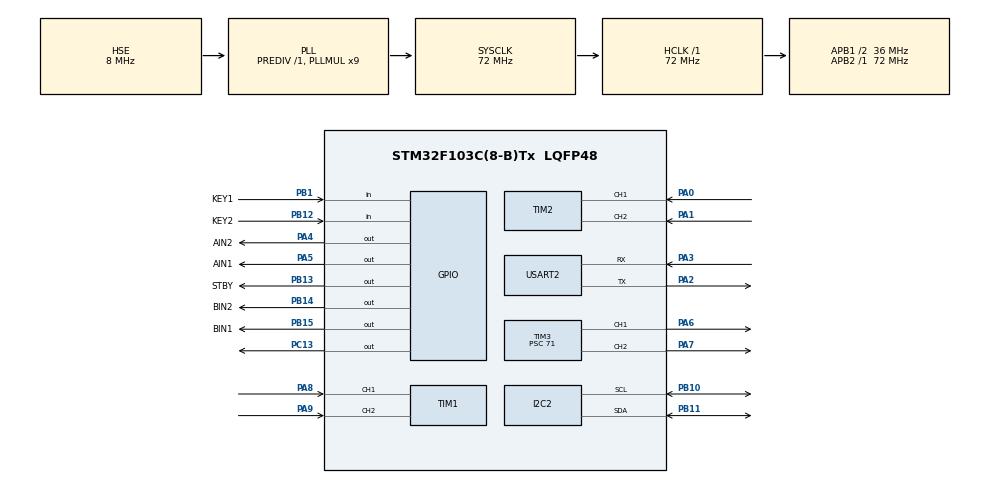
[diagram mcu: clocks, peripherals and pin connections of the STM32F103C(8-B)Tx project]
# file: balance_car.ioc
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I2C2.I2C_Mode=I2C_Fast
Mcu.Family=STM32F1
Mcu.Name=STM32F103C(8-B)Tx
Mcu.Package=LQFP48
NVIC.PriorityGroup=NVIC_PRIORITYGROUP_4
NVIC.TIM4_IRQn=true\:0\:0\:false\:false\:true\:true\:true\:true
PA0-WKUP.GPIO_PuPd=GPIO_PULLUP
PA0-WKUP.Signal=S_TIM2_CH1_ETR
PA1.GPIO_PuPd=GPIO_PULLUP
PA1.Signal=S_TIM2_CH2
PA13.Mode=Serial_Wire
PA13.Signal=SYS_JTMS-SWDIO
PA14.Mode=Serial_Wire
PA14.Signal=SYS_JTCK-SWCLK
PA2.Mode=Asynchronous
PA2.Signal=USART2_TX
PA3.Mode=Asynchronous
PA3.Signal=USART2_RX
PA4.GPIO_Label=AIN2
PA4.Signal=GPIO_Output
PA5.GPIO_Label=AIN1
PA5.Signal=GPIO_Output
PA6.Signal=S_TIM3_CH1
PA7.Signal=S_TIM3_CH2
PA8.GPIO_PuPd=GPIO_PULLUP
PA8.Signal=S_TIM1_CH1
PA9.GPIO_PuPd=GPIO_PULLUP
PA9.Signal=S_TIM1_CH2
PB1.GPIO_Label=KEY1
PB1.GPIO_PuPd=GPIO_PULLUP
PB1.Signal=GPIO_Input
PB10.Mode=I2C
PB10.Signal=I2C2_SCL
PB11.Mode=I2C
PB11.Signal=I2C2_SDA
PB12.GPIO_Label=KEY2
PB12.GPIO_PuPd=GPIO_PULLUP
PB12.Signal=GPIO_Input
PB13.GPIO_Label=STBY
PB13.PinState=GPIO_PIN_SET
PB13.Signal=GPIO_Output
PB14.GPIO_Label=BIN2
PB14.Signal=GPIO_Output
PB15.GPIO_Label=BIN1
PB15.Signal=GPIO_Output
PC13-TAMPER-RTC.GPIO_ModeDefaultOutputPP=GPIO_MODE_OUTPUT_OD
PC13-TAMPER-RTC.GPIO_PuPd=GPIO_NOPULL
PC13-TAMPER-RTC.PinState=GPIO_PIN_SET
PC13-TAMPER-RTC.Signal=GPIO_Output
PD0-OSC_IN.Mode=HSE-External-Oscillator
PD0-OSC_IN.Signal=RCC_OSC_IN
PD1-OSC_OUT.Mode=HSE-External-Oscillator
PD1-OSC_OUT.Signal=RCC_OSC_OUT
ProjectManager.HeapSize=0x200
ProjectManager.StackSize=0x400
ProjectManager.TargetToolchain=MDK-ARM V5.32
RCC.AHBFreq_Value=72000000
RCC.APB1CLKDivider=RCC_HCLK_DIV2
RCC.APB1Freq_Value=36000000
RCC.APB1TimFreq_Value=72000000
RCC.APB2Freq_Value=72000000
RCC.APB2TimFreq_Value=72000000
RCC.HCLKFreq_Value=72000000
RCC.PLLMUL=RCC_PLL_MUL9
RCC.PLLSourceVirtual=RCC_PLLSOURCE_HSE
RCC.SYSCLKFreq_VALUE=72000000
RCC.SYSCLKSource=RCC_SYSCLKSOURCE_PLLCLK
RCC.USBFreq_Value=72000000
SH.S_TIM1_CH1.0=TIM1_CH1,Encoder_Interface
SH.S_TIM1_CH2.0=TIM1_CH2,Encoder_Interface
SH.S_TIM2_CH1_ETR.0=TIM2_CH1,Encoder_Interface
SH.S_TIM2_CH2.0=TIM2_CH2,Encoder_Interface
SH.S_TIM3_CH1.0=TIM3_CH1,PWM Generation1 CH1
SH.S_TIM3_CH2.0=TIM3_CH2,PWM Generation2 CH2
TIM1.EncoderMode=TIM_ENCODERMODE_TI12
TIM2.EncoderMode=TIM_ENCODERMODE_TI12
TIM3.AutoReloadPreload=TIM_AUTORELOAD_PRELOAD_ENABLE
TIM3.Channel-PWM\ Generation1\ CH1=TIM_CHANNEL_1
TIM3.Channel-PWM\ Generation2\ CH2=TIM_CHANNEL_2
TIM3.Period=999
TIM3.Prescaler=71
TIM4.Period=999
TIM4.Prescaler=71
USART2.VirtualMode=VM_ASYNC
VP_TIM3_VS_ClockSourceINT.Mode=Internal
VP_TIM4_VS_ClockSourceINT.Mode=Internal
board=custom

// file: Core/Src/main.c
/* USER CODE BEGIN Header */
#include "main.h"
#include "i2c.h"
#include "tim.h"
#include "usart.h"
#include "gpio.h"

/* USER CODE BEGIN Includes */
#include "app_button.h"
#include "app_pwm.h"
#include "app_encoder.h"
#include "app_motor.h"
#include "app_mpu6050.h"
#include "app_control.h"
#include "app_oled.h"
#include "task.h"
#include <stdio.h>
/* USER CODE END Includes */

/* USER CODE BEGIN PV */
extern uint8_t motor_run_flag;
float targetOmega = 0.0f;
/* USER CODE END PV */

void SystemClock_Config(void);

/* USER CODE BEGIN 0 */
void HAL_TIM_PeriodElapsedCallback(TIM_HandleTypeDef *htim)
{
  if(htim->Instance == TIM4) HAL_GPIO_TogglePin(GPIOC, GPIO_PIN_13);
}
/* USER CODE END 0 */

int main(void)
{
  HAL_Init();
  SystemClock_Config();

  MX_GPIO_Init();
  MX_TIM3_Init();
  MX_TIM1_Init();
  MX_TIM4_Init();
  MX_USART2_UART_Init();
  MX_TIM2_Init();
  MX_I2C2_Init();

  /* USER CODE BEGIN 2 */
  App_PWM_Init();
  App_Encoder_Init();
  App_MPU6050_Init();
  App_Motor_Init();
  App_Button_Init();
  App_Control_Init();

  App_OLED_Init();
  HAL_TIM_Base_Start_IT(&htim4);
  /* USER CODE END 2 */

  /* Infinite loop */
  /* USER CODE BEGIN WHILE */
  while (1)
  {
    /* USER CODE BEGIN 3 */

      // =====================================================================
      // 【防炸核心：严格锁定 5ms 控制周期】
      // 绝对不允许空转狂算 PID，必须和 MPU6050 的 5ms 采样同步！
      // =====================================================================
      static uint32_t last_ctrl = 0;
      if (HAL_GetTick() - last_ctrl >= 5)
      {
          last_ctrl = HAL_GetTick();

          App_MPU6050_Proc();
          App_Button_Proc();
          App_Control_Proc();
      }

      // =====================================================================
      // 屏幕刷新：每 100ms 刷新一次，避免频繁刷屏导致 CPU 卡顿
      // =====================================================================
      static uint32_t last_oled = 0;
      if (HAL_GetTick() - last_oled >= 100)
      {
          last_oled = HAL_GetTick();
          char buf[16];

          sprintf(buf, "P: %+.1f   ", App_MPU6050_GetPitch());
          App_OLED_ShowString(0, 0, buf);

          sprintf(buf, "Gx: %+.1f   ", App_MPU6050_GetGx());
          App_OLED_ShowString(0, 2, buf);

          sprintf(buf, "Run: %d    ", motor_run_flag);
          App_OLED_ShowString(0, 4, buf);
      }
  }
  /* USER CODE END 3 */
}

void SystemClock_Config(void)
{
  RCC_OscInitTypeDef RCC_OscInitStruct = {0};
  RCC_ClkInitTypeDef RCC_ClkInitStruct = {0};
  RCC_OscInitStruct.OscillatorType = RCC_OSCILLATORTYPE_HSE;
  RCC_OscInitStruct.HSEState = RCC_HSE_ON;
  RCC_OscInitStruct.HSEPredivValue = RCC_HSE_PREDIV_DIV1;
  RCC_OscInitStruct.HSIState = RCC_HSI_ON;
  RCC_OscInitStruct.PLL.PLLState = RCC_PLL_ON;
  RCC_OscInitStruct.PLL.PLLSource = RCC_PLLSOURCE_HSE;
  RCC_OscInitStruct.PLL.PLLMUL = RCC_PLL_MUL9;
  if (HAL_RCC_OscConfig(&RCC_OscInitStruct) != HAL_OK) { Error_Handler(); }

  RCC_ClkInitStruct.ClockType = RCC_CLOCKTYPE_HCLK|RCC_CLOCKTYPE_SYSCLK|RCC_CLOCKTYPE_PCLK1|RCC_CLOCKTYPE_PCLK2;
  RCC_ClkInitStruct.SYSCLKSource = RCC_SYSCLKSOURCE_PLLCLK;
  RCC_ClkInitStruct.AHBCLKDivider = RCC_SYSCLK_DIV1;
  RCC_ClkInitStruct.APB1CLKDivider = RCC_HCLK_DIV2;
  RCC_ClkInitStruct.APB2CLKDivider = RCC_HCLK_DIV1;
  if (HAL_RCC_ClockConfig(&RCC_ClkInitStruct, FLASH_LATENCY_2) != HAL_OK) { Error_Handler(); }
}

void Error_Handler(void)
{
  __disable_irq();
  while (1)
  {
  }
}
